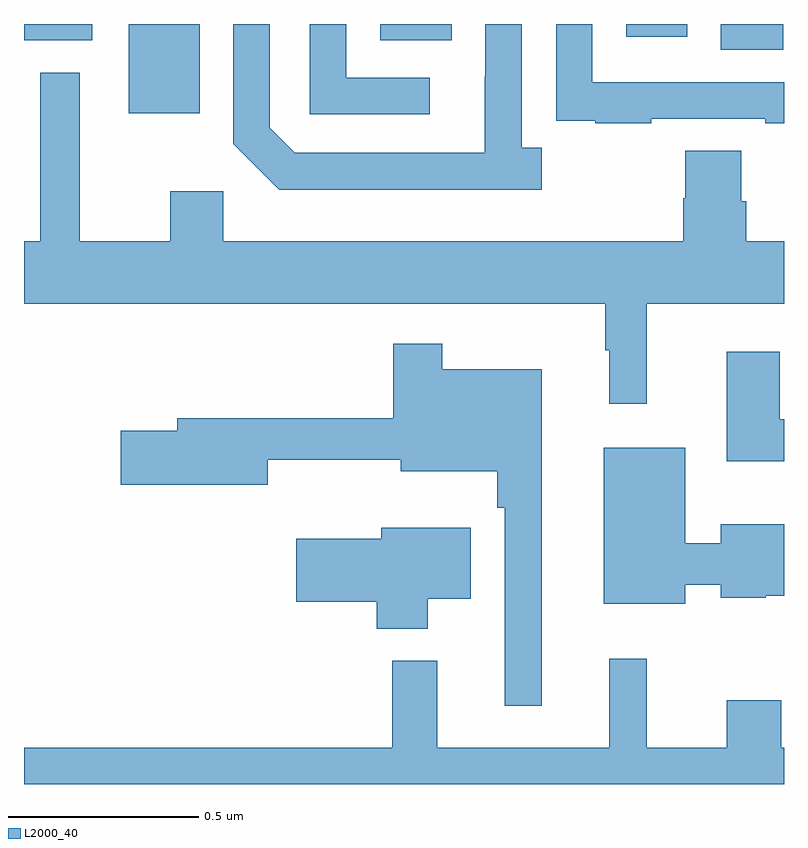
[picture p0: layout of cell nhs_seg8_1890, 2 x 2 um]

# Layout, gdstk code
import gdstk
lib = gdstk.Library(unit=1e-6, precision=1e-09)
def R(c, l, rs):  # rectangles x0, y0, x1, y1
    for r in rs: c.add(gdstk.rectangle(r[:2], r[2:], *l))
def P(c, l, *ps):  # polygons
    for p in ps: c.add(gdstk.Polygon(p, *l))
L2000_40 = (2000, 40)

nhs_seg8_1890 = lib.new_cell('nhs_seg8_1890')
R(nhs_seg8_1890, L2000_40, [(136.275,1119.665,136.462,1119.9), (137.834,1119.832,137.998,1119.9), (136,1119.857,136.18,1119.9), (136.937,1119.857,137.125,1119.9), (137.585,1119.867,137.746,1119.9)])
P(nhs_seg8_1890, L2000_40, [(137.362,1119.574),(137.31,1119.574),(137.31,1119.9),(137.214,1119.9),(137.214,1119.761),(137.213,1119.761),(137.213,1119.561),(136.713,1119.561),(136.647,1119.627),(136.647,1119.9),(136.551,1119.9),(136.551,1119.585),(136.672,1119.464),(137.362,1119.464)],
  [(137.068,1119.759),(136.848,1119.759),(136.848,1119.9),(136.752,1119.9),(136.752,1119.663),(137.068,1119.663)],
  [(137.651,1119.651),(137.951,1119.651),(137.951,1119.639),(138,1119.639),(138,1119.747),(137.496,1119.747),(137.496,1119.9),(137.4,1119.9),(137.4,1119.754),(137.401,1119.754),(137.401,1119.645),(137.503,1119.645),(137.503,1119.639),(137.651,1119.639)],
  [(137.639,1119.164),(138,1119.164),(138,1119.328),(137.9,1119.328),(137.9,1119.434),(137.887,1119.434),(137.887,1119.566),(137.74,1119.566),(137.74,1119.441),(137.735,1119.441),(137.735,1119.328),(136.524,1119.328),(136.524,1119.46),(136.385,1119.46),(136.385,1119.328),(136.147,1119.328),(136.147,1119.772),(136.043,1119.772),(136.043,1119.328),(136,1119.328),(136,1119.164),(137.529,1119.164),(137.529,1119.041),(137.54,1119.041),(137.54,1118.901),(137.639,1118.901)],
  [(137.362,1118.992),(137.101,1118.992),(137.101,1119.058),(136.972,1119.058),(136.972,1118.863),(136.403,1118.863),(136.403,1118.829),(136.254,1118.829),(136.254,1118.687),(136.642,1118.687),(136.642,1118.753),(136.991,1118.753),(136.991,1118.723),(137.245,1118.723),(137.245,1118.627),(137.265,1118.627),(137.265,1118.106),(137.362,1118.106)],
  [(138,1118.86),(137.989,1118.86),(137.989,1119.037),(137.849,1119.037),(137.849,1118.75),(138,1118.75)],
  [(137.74,1118.424),(137.834,1118.424),(137.834,1118.39),(137.952,1118.39),(137.952,1118.396),(138,1118.396),(138,1118.584),(137.834,1118.584),(137.834,1118.534),(137.74,1118.534),(137.74,1118.785),(137.525,1118.785),(137.525,1118.375),(137.74,1118.375)],
  [(137.062,1118.387),(137.176,1118.387),(137.176,1118.575),(136.94,1118.575),(136.94,1118.545),(136.716,1118.545),(136.716,1118.38),(136.928,1118.38),(136.928,1118.309),(137.062,1118.309)],
  [(138,1117.996),(137.993,1117.996),(137.993,1118.12),(137.849,1118.12),(137.849,1117.996),(137.639,1117.996),(137.639,1118.23),(137.54,1118.23),(137.54,1117.996),(137.087,1117.996),(137.087,1118.224),(136.969,1118.224),(136.969,1117.996),(136,1117.996),(136,1117.9),(138,1117.9)])

lib.write_gds('nhs_seg8_1890.gds')
